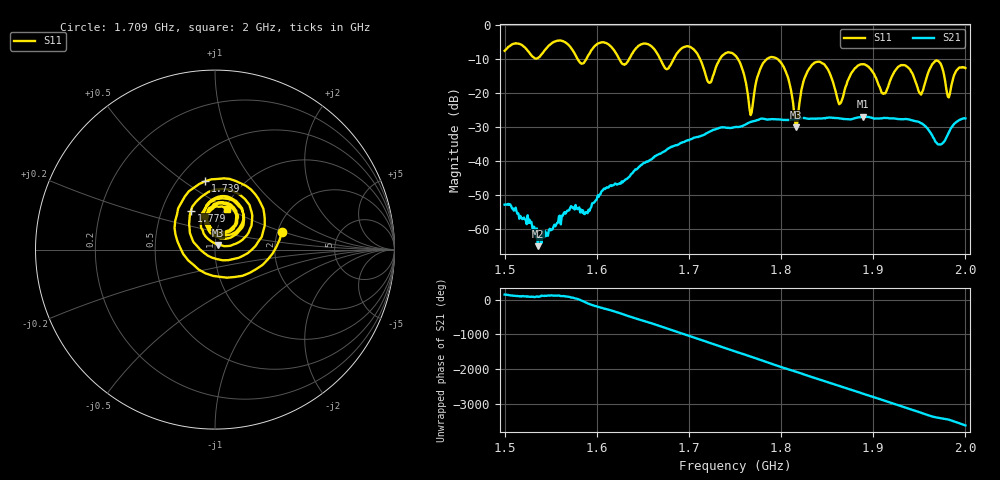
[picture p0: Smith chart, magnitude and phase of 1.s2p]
! NanoVNA-App by SYSJOINT et al v1.1.209 (+OD18)
! Date: 2026-01-21 14:14:53
! Start: 1,5GHz Stop: 2GHz Points: 501
! S-Parameter data: F S11 S21 S12 S22
# Hz S RI R 50
!  Frequency  S11_Real  S11_Imag  S21_Real  S21_Imag  S12_Real  S12_Imag  S22_Real  S22_Imag
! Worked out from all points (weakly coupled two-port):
!   501 points, 1.5 GHz to 2 GHz, reference 50 ohm
!   highest |S21| = -26.91 dB at 1.889 GHz (marker M1); lowest = -65.0 dB at 1.536 GHz (marker M2)
!   lowest |S11| = -30.0 dB at 1.816 GHz (marker M3), VSWR 1.07, Z = 51.8 + j2.7 ohm
!   |S11| at or under -10 dB: 1.712 GHz to 1.733 GHz (21.24 MHz wide, 1.23 % of centre); 1.753 GHz to 1.784 GHz (30.88 MHz wide, 1.75 % of centre); 1.797 GHz to end of sweep (the widest 3 of 6)
!   S12 and S22 are empty: the file has one direction only
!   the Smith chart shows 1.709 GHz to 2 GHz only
!   S11 on the Smith chart (normalised r, x): 1.709 GHz: 2.11, +0.48; 1.739 GHz: 0.68, +0.61; 1.779 GHz: 0.70, +0.32; 2 GHz: 1.02, +0.49
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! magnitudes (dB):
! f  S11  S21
! 1.5 GHz  -7.5  -52.8
! 1.536 GHz  -9.6  -65.0
! 1.561 GHz  -4.5  -58.6
! 1.584 GHz  -11.3  -55.1
! 1.667 GHz  -8.9  -38.0
! 1.709 GHz  -8.3  -32.8
! 1.722 GHz  -16.9  -31.4
! 1.739 GHz  -8.3  -30.0
! 1.75 GHz  -8.8  -30.0
! 1.767 GHz  -26.4  -28.4
! 1.779 GHz  -11.9  -27.4
! 1.801 GHz  -11.4  -27.8
! 1.816 GHz  -30.0  -27.6
! 1.834 GHz  -11.5  -27.5
! 1.864 GHz  -23.0  -27.4
! 1.889 GHz  -11.4  -26.9
! 1.917 GHz  -17.3  -27.3
! 1.933 GHz  -11.7  -27.6
! 1.952 GHz  -20.4  -28.8
! 1.972 GHz  -10.9  -35.1
! 1.982 GHz  -21.2  -31.5
! 2 GHz  -12.6  -27.4
